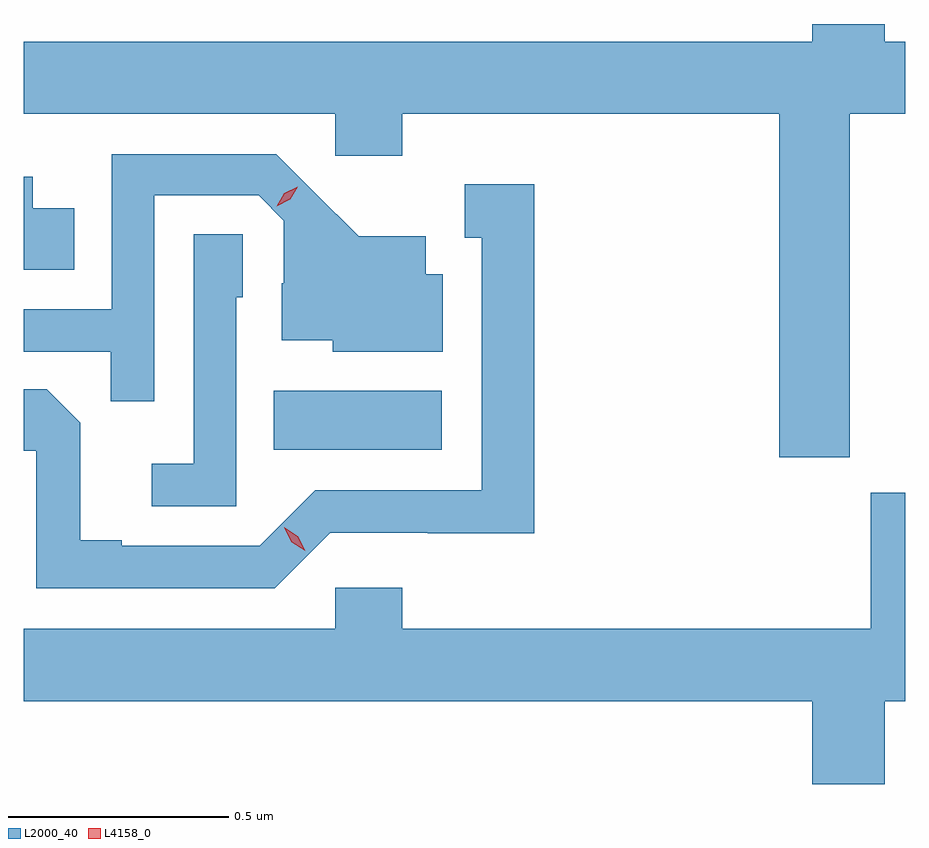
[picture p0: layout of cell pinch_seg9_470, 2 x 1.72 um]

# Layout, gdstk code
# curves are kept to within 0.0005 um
import gdstk
lib = gdstk.Library(unit=1e-6, precision=1e-09)
def R(c, l, rs):  # rectangles x0, y0, x1, y1
    for r in rs: c.add(gdstk.rectangle(r[:2], r[2:], *l))
def P(c, l, *ps):  # polygons
    for p in ps: c.add(gdstk.Polygon(p, *l))
L2000_40 = (2000, 40)
L4158_0 = (4158, 0)

pinch_seg9_470 = lib.new_cell('pinch_seg9_470')
R(pinch_seg9_470, L2000_40, [(259.69,1198.322,260.071,1198.456)])
P(pinch_seg9_470, L2000_40, [(260.997,1199.084),(261.123,1199.084),(261.123,1199.248),(261.076,1199.248),(261.076,1199.288),(260.912,1199.288),(260.912,1199.248),(259.123,1199.248),(259.123,1199.084),(259.83,1199.084),(259.83,1198.989),(259.982,1198.989),(259.982,1199.084),(260.837,1199.084),(260.837,1198.305),(260.997,1198.305)],
  [(259.419,1198.899),(259.656,1198.899),(259.713,1198.842),(259.713,1198.7),(259.709,1198.7),(259.709,1198.571),(259.824,1198.571),(259.824,1198.544),(260.074,1198.544),(260.074,1198.72),(260.035,1198.72),(260.035,1198.807),(259.883,1198.807),(259.696,1198.992),(259.323,1198.992),(259.323,1198.641),(259.123,1198.641),(259.123,1198.545),(259.321,1198.545),(259.321,1198.432),(259.419,1198.432)],
  [(259.238,1198.87),(259.144,1198.87),(259.144,1198.942),(259.123,1198.942),(259.123,1198.73),(259.238,1198.73)],
  [(259.818,1198.134),(260.04,1198.134),(260.04,1198.133),(260.281,1198.133),(260.281,1198.924),(260.123,1198.924),(260.123,1198.803),(260.162,1198.803),(260.162,1198.23),(259.785,1198.23),(259.659,1198.104),(259.345,1198.104),(259.345,1198.117),(259.251,1198.117),(259.251,1198.384),(259.175,1198.46),(259.123,1198.46),(259.123,1198.32),(259.152,1198.32),(259.152,1198.008),(259.692,1198.008)],
  [(259.605,1198.668),(259.62,1198.668),(259.62,1198.811),(259.509,1198.811),(259.509,1198.291),(259.413,1198.291),(259.413,1198.194),(259.605,1198.194)],
  [(261.076,1197.752),(261.123,1197.752),(261.123,1198.225),(261.044,1198.225),(261.044,1197.916),(259.982,1197.916),(259.982,1198.009),(259.83,1198.009),(259.83,1197.916),(259.123,1197.916),(259.123,1197.752),(260.912,1197.752),(260.912,1197.564),(261.076,1197.564)])
P(pinch_seg9_470, L4158_0, [(259.762,1198.093),(259.731,1198.112),(259.714,1198.145),(259.714,1198.146),(259.714,1198.146),(259.745,1198.126),(259.762,1198.093),(259.762,1198.093)],
  [(259.697,1198.875),(259.697,1198.875),(259.714,1198.904),(259.745,1198.919),(259.745,1198.919),(259.745,1198.919),(259.728,1198.89),(259.697,1198.875)])

lib.write_gds('pinch_seg9_470.gds')
